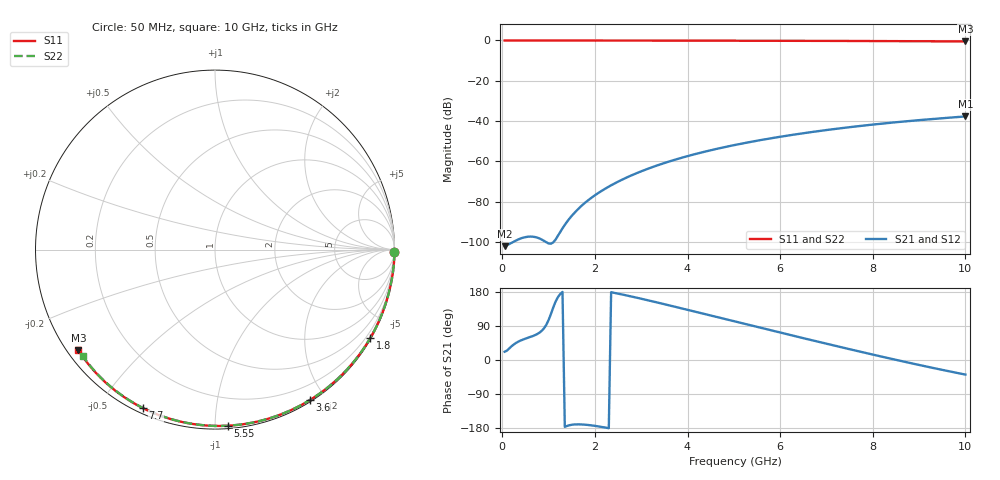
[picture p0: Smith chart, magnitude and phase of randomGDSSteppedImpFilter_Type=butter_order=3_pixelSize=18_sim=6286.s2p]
! freq	dB(S11)	phase(S11)	dB(S12)	phase(S12)
!  dB(S21)	phase(S21)	dB(S22)	phase(S22)
!S-par simulation data
#  GHz  S  DB  R 50
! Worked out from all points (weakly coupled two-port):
!   200 points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, 50 MHz to 10 GHz, reference 50 ohm
!   highest |S21| = -37.73 dB at 10 GHz (marker M1); lowest = -102.1 dB at 50 MHz (marker M2)
!   lowest |S11| = -0.5 dB at 10 GHz (marker M3), VSWR 35.65, Z = 1.55 - j16.4 ohm
!   |S11| at or under -10 dB: nowhere
!   |S22| runs from -0.5 to 0.0 dB; largest |S21 - S12| = 0
!   S11 on the Smith chart (normalised r, x): 50 MHz: open; 1.8 GHz: 0.03, -3.79; 3.6 GHz: 0.02, -1.82; 5.55 GHz: 0.02, -1.07; 7.7 GHz: 0.02, -0.64; 10 GHz: 0.03, -0.33
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0.05  -0.00 -0.8  -102.15 21.9  -102.15 21.9  -0.00 -0.8
0.45  -0.01 -7.5  -97.92 54.2  -97.92 54.2  -0.01 -7.3
0.9  -0.02 -14.9  -99.52 83.6  -99.52 83.6  -0.02 -14.6
1.3  -0.03 -21.5  -93.30 179.6  -93.30 179.6  -0.03 -20.9
1.75  -0.04 -28.7  -81.32 -170.4  -81.32 -170.4  -0.04 -28.0
1.8  -0.04 -29.5  -80.34 -170.8  -80.34 -170.8  -0.04 -28.8
1.85  -0.04 -30.3  -79.42 -171.4  -79.42 -171.4  -0.04 -29.6
2  -0.04 -32.8  -76.88 -173.7  -76.88 -173.7  -0.04 -32.0
2.15  -0.05 -35.1  -74.62 -176.6  -74.62 -176.6  -0.04 -34.3
2.5  -0.05 -40.7  -70.11 175.2  -70.11 175.2  -0.05 -39.7
2.9  -0.06 -46.9  -65.91 164.5  -65.91 164.5  -0.06 -45.8
3.4  -0.07 -54.6  -61.61 150.2  -61.61 150.2  -0.07 -53.3
3.6  -0.08 -57.6  -60.12 144.3  -60.12 144.3  -0.08 -56.3
4.3  -0.10 -68.0  -55.63 123.4  -55.63 123.4  -0.09 -66.5
5.05  -0.12 -78.8  -51.77 100.8  -51.77 100.8  -0.12 -77.0
5.55  -0.14 -85.9  -49.58 85.8  -49.58 85.8  -0.14 -83.9
6.1  -0.17 -93.4  -47.46 69.5  -47.46 69.5  -0.16 -91.3
6.7  -0.20 -101.5  -45.41 51.8  -45.41 51.8  -0.19 -99.2
7.7  -0.26 -114.5  -42.53 22.8  -42.53 22.8  -0.26 -112.0
8.35  -0.32 -122.8  -40.95 4.5  -40.95 4.5  -0.31 -120.2
9.2  -0.40 -133.6  -39.18 -18.4  -39.18 -18.4  -0.39 -130.9
10  -0.49 -143.6  -37.73 -38.5  -37.73 -38.5  -0.49 -141.2
